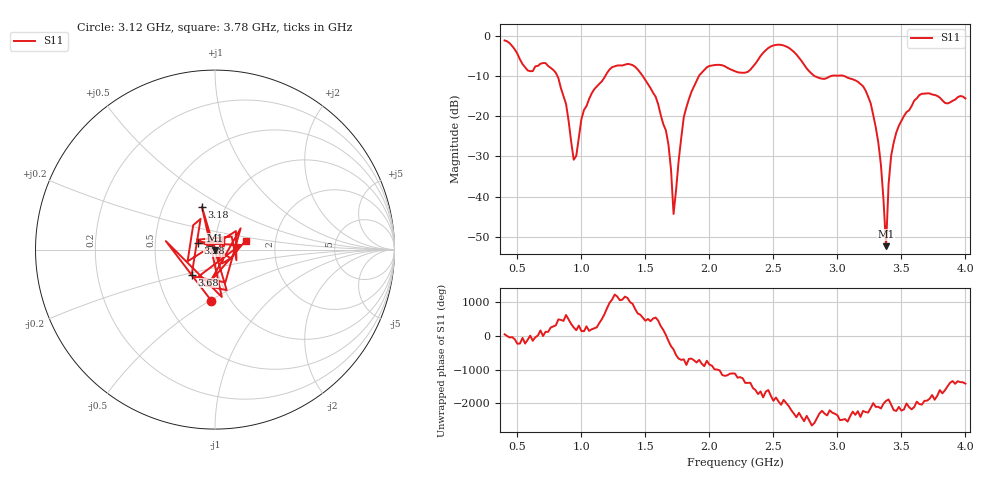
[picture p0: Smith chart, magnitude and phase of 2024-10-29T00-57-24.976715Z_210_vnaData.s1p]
!Created with skrf (http://scikit-rf.org).
# Hz S RI R 50.0
!freq ReS11 ImS11
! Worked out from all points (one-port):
!   181 points, 400 MHz to 4 GHz, reference 50 ohm
!   lowest |S11| = -52.3 dB at 3.38 GHz (marker M1), VSWR 1.00, Z = 49.8 - j0.174 ohm
!   |S11| at or under -10 dB: 811.4 MHz to 1.188 GHz (376.3 MHz wide, 37.6 % of centre); 1.478 GHz to 1.919 GHz (440.7 MHz wide, 26 % of centre); 3.047 GHz to end of sweep (the widest 3 of 4)
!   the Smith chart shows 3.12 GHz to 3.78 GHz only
!   S11 on the Smith chart (normalised r, x): 3.12 GHz: 0.82, -0.51; 3.18 GHz: 0.77, +0.40; 3.28 GHz: 0.82, +0.06; 3.68 GHz: 0.74, -0.21; 3.78 GHz: 1.40, +0.15
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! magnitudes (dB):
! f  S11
! 400 MHz  -1.2
! 580 MHz  -8.7
! 780 MHz  -8.5
! 860 MHz  -15.0
! 940 MHz  -30.8
! 1.08 GHz  -14.4
! 1.3 GHz  -7.4
! 1.58 GHz  -15.2
! 1.68 GHz  -27.1
! 1.72 GHz  -44.3
! 1.76 GHz  -31.0
! 1.8 GHz  -20.2
! 1.92 GHz  -9.9
! 2.2 GHz  -8.9
! 2.66 GHz  -4.1
! 2.82 GHz  -10.1
! 3.1 GHz  -10.7
! 3.12 GHz  -10.9
! 3.18 GHz  -12.0
! 3.28 GHz  -19.8
! 3.34 GHz  -32.1
! 3.38 GHz  -52.3
! 3.4 GHz  -36.9
! 3.42 GHz  -29.8
! 3.56 GHz  -18.6
! 3.68 GHz  -14.4
! 3.78 GHz  -15.0
! 4 GHz  -15.6
